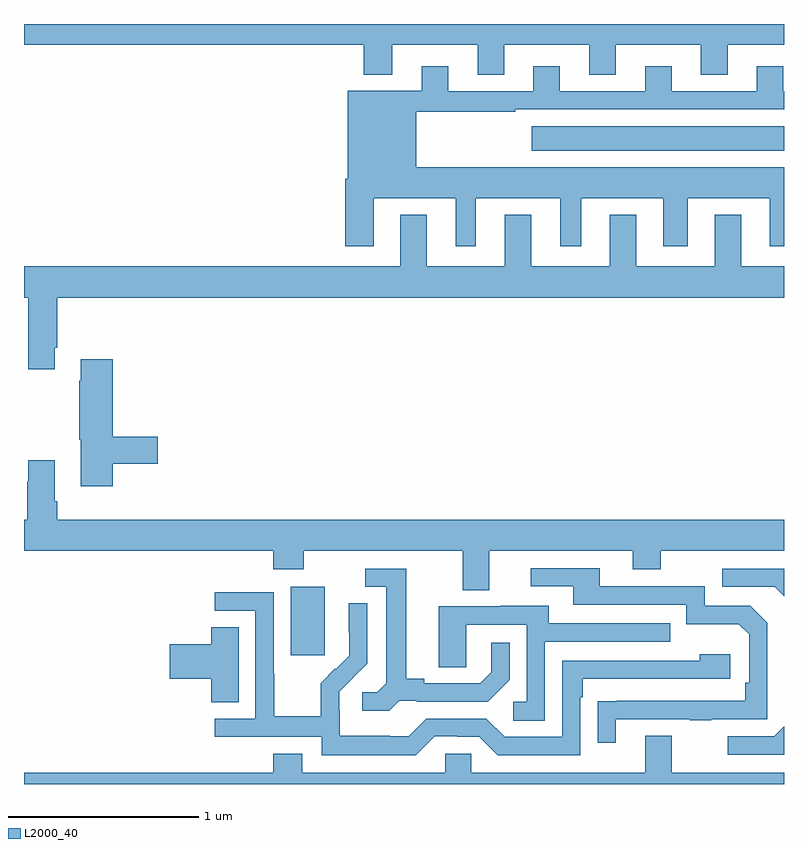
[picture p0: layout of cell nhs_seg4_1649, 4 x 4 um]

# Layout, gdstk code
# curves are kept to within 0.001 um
import gdstk
lib = gdstk.Library(unit=1e-6, precision=1e-09)
def R(c, l, rs):  # rectangles x0, y0, x1, y1
    for r in rs: c.add(gdstk.rectangle(r[:2], r[2:], *l))
def P(c, l, *ps):  # polygons
    for p in ps: c.add(gdstk.Polygon(p, *l))
L2000_40 = (2000, 40)

nhs_seg4_1649 = lib.new_cell('nhs_seg4_1649')
R(nhs_seg4_1649, L2000_40, [(196.403,821.577,196.582,821.938), (197.673,824.234,199,824.362)])
P(nhs_seg4_1649, L2000_40, [(197.527,824.792),(197.975,824.792),(197.975,824.632),(198.115,824.632),(198.115,824.792),(198.563,824.792),(198.563,824.632),(198.703,824.632),(198.703,824.792),(199,824.792),(199,824.9),(195,824.9),(195,824.792),(196.787,824.792),(196.787,824.633),(196.939,824.633),(196.939,824.792),(197.387,824.792),(197.387,824.632),(197.527,824.632)],
  [(196.84,823.982),(197.273,823.982),(197.273,823.731),(197.377,823.731),(197.377,823.982),(197.822,823.982),(197.822,823.731),(197.932,823.731),(197.932,823.982),(198.365,823.982),(198.365,823.731),(198.493,823.731),(198.493,823.982),(198.926,823.982),(198.926,823.731),(199,823.731),(199,824.146),(197.065,824.146),(197.065,824.439),(197.585,824.439),(197.585,824.451),(199,824.451),(199,824.547),(198.997,824.547),(198.997,824.677),(198.857,824.677),(198.857,824.547),(198.409,824.547),(198.409,824.677),(198.269,824.677),(198.269,824.547),(197.821,824.547),(197.821,824.677),(197.681,824.677),(197.681,824.547),(197.233,824.547),(197.233,824.677),(197.093,824.677),(197.093,824.548),(196.703,824.548),(196.703,824.086),(196.691,824.086),(196.691,823.731),(196.84,823.731)],
  [(195.163,823.195),(195.176,823.195),(195.176,823.46),(199,823.46),(199,823.624),(198.775,823.624),(198.775,823.897),(198.635,823.897),(198.635,823.624),(198.223,823.624),(198.223,823.897),(198.083,823.897),(198.083,823.624),(197.671,823.624),(197.671,823.897),(197.531,823.897),(197.531,823.624),(197.119,823.624),(197.119,823.897),(196.979,823.897),(196.979,823.624),(195,823.624),(195,823.46),(195.023,823.46),(195.023,823.083),(195.163,823.083)],
  [(195.467,822.586),(195.703,822.586),(195.703,822.728),(195.467,822.728),(195.467,823.135),(195.299,823.135),(195.299,823.022),(195.292,823.022),(195.292,822.711),(195.299,822.711),(195.299,822.468),(195.467,822.468)],
  [(195.176,822.388),(195.163,822.388),(195.163,822.604),(195.023,822.604),(195.023,822.491),(195.016,822.491),(195.016,822.292),(195,822.292),(195,822.128),(196.313,822.128),(196.313,822.029),(196.473,822.029),(196.473,822.128),(197.309,822.128),(197.309,821.92),(197.449,821.92),(197.449,822.128),(198.203,822.128),(198.203,822.029),(198.351,822.029),(198.351,822.128),(199,822.128),(199,822.292),(195.176,822.292)],
  [(198.115,821.241),(198.505,821.241),(198.505,821.236),(198.617,821.236),(198.617,821.241),(198.912,821.241),(198.912,821.748),(198.822,821.838),(198.582,821.838),(198.582,821.94),(198.031,821.94),(198.031,822.036),(197.667,822.036),(197.667,821.94),(197.891,821.94),(197.891,821.844),(198.486,821.844),(198.486,821.741),(198.763,821.741),(198.816,821.688),(198.816,821.434),(198.796,821.434),(198.796,821.337),(198.019,821.336),(198.019,821.118),(198.115,821.118)],
  [(199,822.033),(198.675,822.033),(198.675,821.937),(198.951,821.937),(199,821.888)],
  [(196.974,821.337),(197.068,821.337),(197.068,821.334),(197.44,821.334),(197.556,821.45),(197.556,821.644),(197.459,821.644),(197.459,821.487),(197.402,821.43),(197.107,821.43),(197.107,821.453),(197.011,821.453),(197.011,822.033),(196.797,822.033),(196.797,821.937),(196.907,821.937),(196.907,821.429),(196.86,821.382),(196.779,821.382),(196.779,821.285),(196.922,821.285)],
  [(197.163,821.151),(197.279,821.151),(197.279,821.148),(197.397,821.148),(197.493,821.052),(197.928,821.052),(197.928,821.357),(197.941,821.357),(197.941,821.454),(198.718,821.454),(198.718,821.584),(198.557,821.584),(198.557,821.55),(197.832,821.55),(197.832,821.148),(197.529,821.148),(197.433,821.244),(197.118,821.244),(197.025,821.151),(196.925,821.151),(196.925,821.155),(196.662,821.155),(196.662,821.289),(196.66,821.289),(196.66,821.386),(196.806,821.534),(196.806,821.852),(196.71,821.852),(196.71,821.698),(196.712,821.698),(196.712,821.576),(196.641,821.505),(196.638,821.508),(196.561,821.431),(196.561,821.257),(196.317,821.257),(196.317,821.48),(196.314,821.48),(196.314,821.91),(196.005,821.91),(196.005,821.811),(196.218,821.811),(196.218,821.244),(196.005,821.244),(196.005,821.148),(196.566,821.148),(196.566,821.051),(197.063,821.051)],
  [(197.742,821.649),(198.401,821.649),(198.401,821.745),(197.761,821.745),(197.761,821.839),(197.507,821.839),(197.507,821.835),(197.183,821.835),(197.183,821.515),(197.328,821.515),(197.328,821.739),(197.646,821.739),(197.646,821.334),(197.574,821.334),(197.574,821.233),(197.742,821.233)],
  [(196.129,821.726),(195.986,821.726),(195.986,821.636),(195.768,821.636),(195.768,821.453),(195.986,821.453),(195.986,821.329),(196.129,821.329)],
  [(199,821.203),(198.948,821.151),(198.705,821.151),(198.705,821.055),(199,821.055)],
  [(199,820.96),(198.409,820.96),(198.409,821.155),(198.269,821.155),(198.269,820.96),(197.355,820.96),(197.355,821.058),(197.217,821.058),(197.217,820.96),(196.465,820.96),(196.465,821.059),(196.313,821.059),(196.313,820.96),(195,820.96),(195,820.9),(199,820.9)])

lib.write_gds('nhs_seg4_1649.gds')
